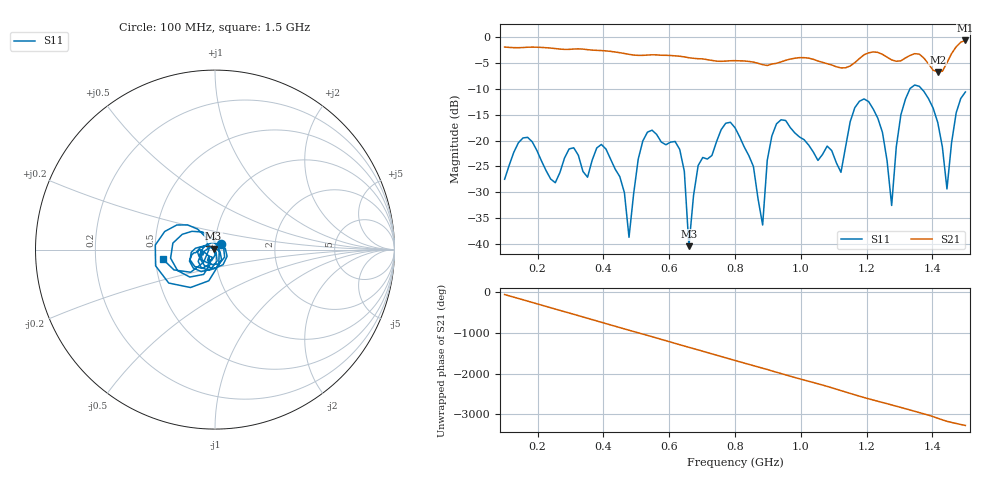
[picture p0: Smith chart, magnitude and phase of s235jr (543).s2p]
! NanoVNA-App
! Date: 2025-09-25 15:08:23
! Start: 100MHz Stop: 1,5GHz Points: 101
! S-Parameter data: F S11 S21 S12 S22
# Hz S RI R 50
!  Frequency  S11_Real  S11_Imag  S21_Real  S21_Imag  S12_Real  S12_Imag  S22_Real  S22_Imag
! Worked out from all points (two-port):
!   101 points, 100 MHz to 1.5 GHz, reference 50 ohm
!   highest |S21| = -0.69 dB at 1.5 GHz (marker M1); lowest = -6.7 dB at 1.416 GHz (marker M2)
!   |S21| within 3 dB of the highest: start of sweep to 623.7 MHz; 1.188 GHz to 1.256 GHz (68.61 MHz wide, 5.61 % of centre) (the widest 2 of 4)
!   lowest |S11| = -40.4 dB at 660 MHz (marker M3), VSWR 1.02, Z = 49.2 + j0.538 ohm
!   |S11| at or under -10 dB: start of sweep to 1.332 GHz; 1.367 GHz to end of sweep
!   S12 and S22 are empty: the file has one direction only
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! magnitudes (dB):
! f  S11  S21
! 100 MHz  -27.5  -2.0
! 170 MHz  -19.4  -2.0
! 338 MHz  -26.0  -2.4
! 408 MHz  -21.6  -2.7
! 478 MHz  -38.7  -3.4
! 520 MHz  -20.1  -3.6
! 576 MHz  -20.3  -3.5
! 632 MHz  -21.7  -3.7
! 660 MHz  -40.4  -4.0
! 688 MHz  -24.8  -4.2
! 800 MHz  -17.5  -4.6
! 884 MHz  -36.3  -5.4
! 926 MHz  -16.8  -5.1
! 1.038 GHz  -22.2  -4.3
! 1.122 GHz  -26.1  -6.0
! 1.206 GHz  -12.5  -3.1
! 1.276 GHz  -32.5  -4.4
! 1.304 GHz  -15.0  -4.6
! 1.332 GHz  -9.9  -3.6
! 1.416 GHz  -16.5  -6.7
! 1.444 GHz  -29.3  -5.0
! 1.5 GHz  -10.6  -0.7
